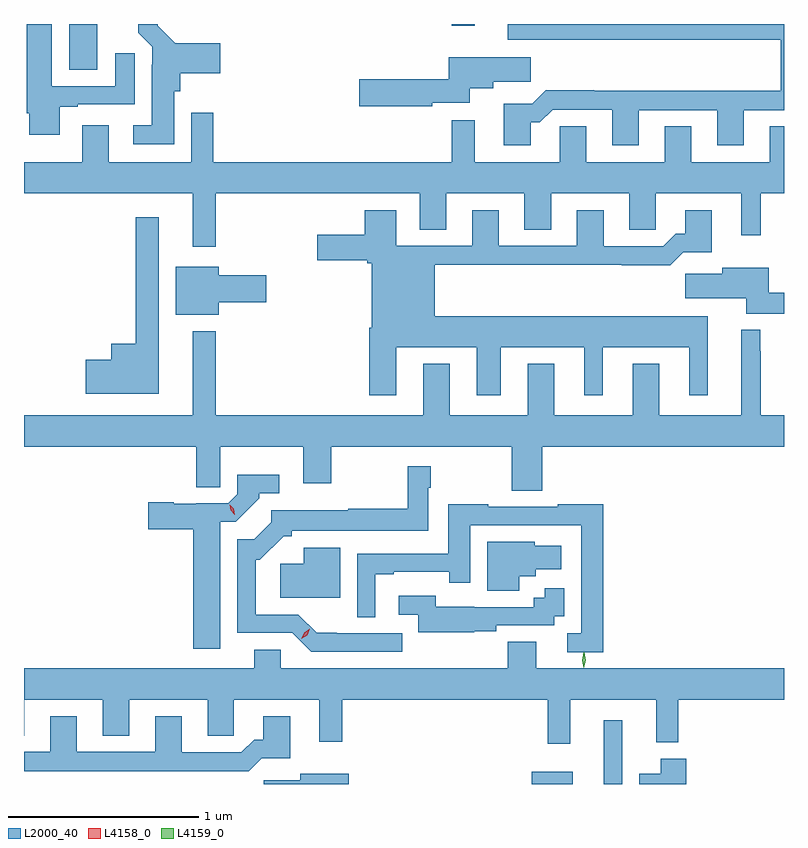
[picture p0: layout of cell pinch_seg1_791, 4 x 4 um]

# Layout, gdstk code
import gdstk
lib = gdstk.Library(unit=1e-6, precision=1e-09)
def R(c, l, rs):  # rectangles x0, y0, x1, y1
    for r in rs: c.add(gdstk.rectangle(r[:2], r[2:], *l))
def P(c, l, *ps):  # polygons
    for p in ps: c.add(gdstk.Polygon(p, *l))
L2000_40 = (2000, 40)
L4158_0 = (4158, 0)
L4159_0 = (4159, 0)

pinch_seg1_791 = lib.new_cell('pinch_seg1_791')
R(pinch_seg1_791, L2000_40, [(403.34,571.268,403.555,571.333), (403.718,571.268,403.815,571.603), (400.904,575.026,401.053,575.268), (402.918,575.259,403.039,575.268)])
P(pinch_seg1_791, L2000_40, [(403.333,574.751),(403.382,574.751),(403.449,574.818),(403.763,574.818),(403.763,574.629),(403.903,574.629),(403.903,574.815),(404.315,574.815),(404.315,574.629),(404.455,574.629),(404.455,574.815),(404.667,574.815),(404.667,575.268),(403.214,575.268),(403.214,575.186),(404.651,575.186),(404.651,574.916),(403.667,574.916),(403.667,574.919),(403.412,574.919),(403.342,574.849),(403.193,574.849),(403.193,574.629),(403.333,574.629)],
  [(400.855,574.833),(400.951,574.833),(400.951,574.845),(401.251,574.845),(401.251,575.113),(401.147,575.113),(401.147,574.941),(400.813,574.941),(400.813,575.268),(400.682,575.268),(400.682,574.798),(400.694,574.798),(400.694,574.686),(400.855,574.686)],
  [(401.458,574.914),(401.489,574.914),(401.489,575.009),(401.701,575.009),(401.701,575.167),(401.463,575.167),(401.371,575.26),(401.371,575.268),(401.269,575.268),(401.269,575.222),(401.343,575.148),(401.343,575.054),(401.339,575.054),(401.339,574.735),(401.241,574.735),(401.241,574.634),(401.458,574.634)],
  [(402.816,574.853),(403.012,574.853),(403.012,574.931),(403.138,574.931),(403.138,574.963),(403.333,574.963),(403.333,575.092),(402.902,575.092),(402.902,574.976),(402.432,574.976),(402.432,574.834),(402.816,574.834)],
  [(401.677,574.376),(402.749,574.376),(402.749,574.186),(402.889,574.186),(402.889,574.376),(403.301,574.376),(403.301,574.186),(403.441,574.186),(403.441,574.376),(403.853,574.376),(403.853,574.186),(403.992,574.186),(403.992,574.376),(404.441,574.376),(404.441,574.155),(404.545,574.155),(404.545,574.376),(404.667,574.376),(404.667,574.73),(404.591,574.73),(404.591,574.54),(404.179,574.54),(404.179,574.73),(404.039,574.73),(404.039,574.54),(403.627,574.54),(403.627,574.73),(403.488,574.73),(403.488,574.54),(403.039,574.54),(403.039,574.762),(402.918,574.762),(402.918,574.54),(401.663,574.54),(401.663,574.801),(401.547,574.801),(401.547,574.54),(401.113,574.54),(401.113,574.735),(400.973,574.735),(400.973,574.54),(400.667,574.54),(400.667,574.376),(401.555,574.376),(401.555,574.095),(401.677,574.095)],
  [(402.625,573.566),(403.049,573.566),(403.049,573.315),(403.177,573.315),(403.177,573.566),(403.616,573.566),(403.616,573.315),(403.714,573.315),(403.714,573.566),(404.168,573.566),(404.168,573.315),(404.266,573.315),(404.266,573.73),(402.829,573.73),(402.829,574),(403.813,574),(403.813,573.998),(404.069,573.998),(404.138,574.067),(404.287,574.067),(404.287,574.288),(404.147,574.288),(404.147,574.165),(404.098,574.165),(404.031,574.098),(403.717,574.098),(403.717,574.288),(403.577,574.288),(403.577,574.101),(403.165,574.101),(403.165,574.288),(403.025,574.288),(403.025,574.101),(402.625,574.101),(402.625,574.288),(402.461,574.288),(402.461,574.159),(402.21,574.159),(402.21,574.025),(402.473,574.025),(402.473,574.008),(402.497,574.008),(402.497,573.67),(402.485,573.67),(402.485,573.315),(402.625,573.315)],
  [(401.377,574.252),(401.256,574.252),(401.256,573.586),(401.126,573.586),(401.126,573.5),(400.992,573.5),(400.992,573.323),(401.377,573.323)],
  [(401.692,573.803),(401.941,573.803),(401.941,573.945),(401.692,573.945),(401.692,573.991),(401.465,573.991),(401.465,573.737),(401.692,573.737)],
  [(404.667,573.853),(404.586,573.853),(404.586,573.985),(404.342,573.985),(404.342,573.953),(404.148,573.953),(404.148,573.824),(404.468,573.824),(404.468,573.744),(404.667,573.744)],
  [(404.667,573.208),(404.545,573.208),(404.545,573.545),(404.543,573.545),(404.543,573.658),(404.441,573.658),(404.441,573.208),(404.011,573.208),(404.011,573.481),(403.871,573.481),(403.871,573.208),(403.459,573.208),(403.459,573.481),(403.319,573.481),(403.319,573.208),(402.907,573.208),(402.907,573.481),(402.767,573.481),(402.767,573.208),(401.677,573.208),(401.677,573.652),(401.555,573.652),(401.555,573.208),(400.667,573.208),(400.667,573.044),(401.573,573.044),(401.573,572.83),(401.7,572.83),(401.7,573.044),(402.137,573.044),(402.137,572.85),(402.285,572.85),(402.285,573.044),(403.234,573.044),(403.234,572.812),(403.394,572.812),(403.394,573.044),(404.667,573.044)],
  [(402.657,572.061),(402.313,572.061),(402.313,572.063),(402.209,572.063),(402.111,572.16),(401.886,572.16),(401.886,572.448),(401.909,572.448),(402.033,572.571),(402.076,572.571),(402.076,572.6),(402.795,572.6),(402.795,572.828),(402.808,572.828),(402.808,572.941),(402.687,572.941),(402.687,572.718),(402.373,572.718),(402.373,572.71),(401.969,572.71),(401.969,572.646),(401.879,572.556),(401.79,572.556),(401.79,572.064),(402.079,572.064),(402.178,571.965),(402.657,571.965)],
  [(401.701,572.649),(401.782,572.649),(401.906,572.773),(401.906,572.799),(402.01,572.799),(402.01,572.896),(401.79,572.896),(401.79,572.793),(401.742,572.745),(401.574,572.745),(401.574,572.743),(401.454,572.743),(401.454,572.751),(401.322,572.751),(401.322,572.609),(401.558,572.609),(401.558,571.98),(401.701,571.98)],
  [(403.715,572.74),(403.477,572.74),(403.477,572.727),(403.111,572.727),(403.111,572.74),(402.899,572.74),(402.899,572.481),(402.42,572.481),(402.42,572.146),(402.516,572.146),(402.516,572.373),(402.613,572.373),(402.613,572.385),(402.906,572.385),(402.906,572.328),(403.015,572.328),(403.015,572.631),(403.599,572.631),(403.599,572.061),(403.527,572.061),(403.527,571.961),(403.715,571.961)],
  [(403.273,572.361),(403.36,572.361),(403.36,572.399),(403.495,572.399),(403.495,572.521),(403.356,572.521),(403.356,572.542),(403.106,572.542),(403.106,572.284),(403.273,572.284)],
  [(402.331,572.512),(402.14,572.512),(402.14,572.427),(402.015,572.427),(402.015,572.249),(402.331,572.249)],
  [(403.038,572.073),(403.152,572.073),(403.152,572.103),(403.458,572.103),(403.458,572.151),(403.51,572.151),(403.51,572.297),(403.409,572.297),(403.409,572.247),(403.35,572.247),(403.35,572.199),(403.038,572.199),(403.038,572.2),(402.834,572.2),(402.834,572.26),(402.639,572.26),(402.639,572.159),(402.741,572.159),(402.741,572.066),(403.038,572.066)],
  [(402.221,571.491),(402.343,571.491),(402.343,571.712),(403.423,571.712),(403.423,571.479),(403.541,571.479),(403.541,571.712),(403.994,571.712),(403.994,571.487),(404.111,571.487),(404.111,571.712),(404.667,571.712),(404.667,571.876),(403.363,571.876),(403.363,572.018),(403.212,572.018),(403.212,571.876),(402.018,571.876),(402.018,571.974),(401.879,571.974),(401.879,571.876),(400.667,571.876),(400.667,571.522),(400.669,571.522),(400.669,571.712),(401.081,571.712),(401.081,571.522),(401.221,571.522),(401.221,571.712),(401.633,571.712),(401.633,571.522),(401.772,571.522),(401.772,571.712),(402.221,571.712)],
  [(401.918,571.403),(402.067,571.403),(402.067,571.624),(401.927,571.624),(401.927,571.501),(401.878,571.501),(401.811,571.434),(401.497,571.434),(401.497,571.624),(401.357,571.624),(401.357,571.437),(400.945,571.437),(400.945,571.624),(400.805,571.624),(400.805,571.437),(400.667,571.437),(400.667,571.336),(401.593,571.336),(401.593,571.334),(401.849,571.334)],
  [(404.153,571.402),(404.018,571.402),(404.018,571.321),(403.904,571.321),(403.904,571.268),(404.153,571.268)],
  [(402.376,571.321),(402.122,571.321),(402.122,571.289),(401.928,571.289),(401.928,571.268),(402.376,571.268)])
P(pinch_seg1_791, L4158_0, [(401.776,572.685),(401.776,572.685),(401.754,572.708),(401.75,572.739),(401.75,572.739),(401.75,572.739),(401.772,572.717),(401.776,572.685)],
  [(402.127,572.032),(402.127,572.033),(402.142,572.065),(402.171,572.084),(402.171,572.084),(402.171,572.084),(402.157,572.052),(402.127,572.032)])
P(pinch_seg1_791, L4159_0, [(403.612,571.879),(403.604,571.92),(403.614,571.961),(403.614,571.961),(403.615,571.961),(403.624,571.92),(403.613,571.879),(403.613,571.879)])

lib.write_gds('pinch_seg1_791.gds')
